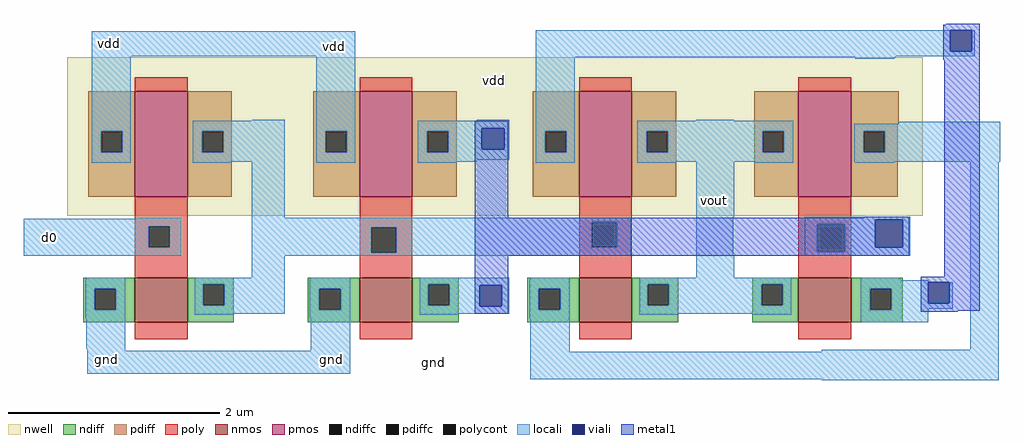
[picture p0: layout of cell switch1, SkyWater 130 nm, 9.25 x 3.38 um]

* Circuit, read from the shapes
.subckt switch1 d0 gnd vdd vout
XM1 n1 d0 gnd VSUBS sky130_fd_pr__nfet_01v8 w=0.42 l=0.5
XM2 n2 n1 gnd VSUBS sky130_fd_pr__nfet_01v8 w=0.42 l=0.5
XM3 vout n1 n3 VSUBS sky130_fd_pr__nfet_01v8 w=0.42 l=0.5
XM4 n4 n2 vout VSUBS sky130_fd_pr__nfet_01v8 w=0.42 l=0.5
XM5 n1 d0 vdd vdd sky130_fd_pr__pfet_01v8 w=1 l=0.5
XM6 n2 n1 vdd vdd sky130_fd_pr__pfet_01v8 w=1 l=0.5
XM7 vout n1 n4 vdd sky130_fd_pr__pfet_01v8 w=1 l=0.5
XM8 n3 n2 vout vdd sky130_fd_pr__pfet_01v8 w=1 l=0.5
.ends

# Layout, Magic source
magic
tech sky130A
<< nwell >>
rect -19 0 792 150
<< nmos >>
rect 45 -101 95 -59
rect 258 -101 308 -59
rect 466 -101 516 -59
rect 674 -101 724 -59
<< pmos >>
rect 45 18 95 118
rect 258 18 308 118
rect 466 18 516 118
rect 674 18 724 118
<< ndiff >>
rect -4 -69 45 -59
rect -4 -89 7 -69
rect 27 -89 45 -69
rect -4 -101 45 -89
rect 95 -65 139 -59
rect 95 -85 110 -65
rect 130 -85 139 -65
rect 95 -101 139 -85
rect 209 -69 258 -59
rect 209 -89 220 -69
rect 240 -89 258 -69
rect 209 -101 258 -89
rect 308 -65 352 -59
rect 308 -85 323 -65
rect 343 -85 352 -65
rect 308 -101 352 -85
rect 417 -69 466 -59
rect 417 -89 428 -69
rect 448 -89 466 -69
rect 417 -101 466 -89
rect 516 -65 560 -59
rect 516 -85 531 -65
rect 551 -85 560 -65
rect 516 -101 560 -85
rect 630 -65 674 -59
rect 630 -85 639 -65
rect 659 -85 674 -65
rect 630 -101 674 -85
rect 724 -69 773 -59
rect 724 -89 742 -69
rect 762 -89 773 -69
rect 724 -101 773 -89
<< pdiff >>
rect 1 80 45 118
rect 1 60 13 80
rect 33 60 45 80
rect 1 18 45 60
rect 95 80 137 118
rect 95 60 109 80
rect 129 60 137 80
rect 95 18 137 60
rect 214 80 258 118
rect 214 60 226 80
rect 246 60 258 80
rect 214 18 258 60
rect 308 80 350 118
rect 308 60 322 80
rect 342 60 350 80
rect 308 18 350 60
rect 422 80 466 118
rect 422 60 434 80
rect 454 60 466 80
rect 422 18 466 60
rect 516 80 558 118
rect 516 60 530 80
rect 550 60 558 80
rect 516 18 558 60
rect 632 80 674 118
rect 632 60 640 80
rect 660 60 674 80
rect 632 18 674 60
rect 724 87 769 118
rect 724 80 768 87
rect 724 60 736 80
rect 756 60 768 80
rect 724 18 768 60
<< ndiffc >>
rect 7 -89 27 -69
rect 110 -85 130 -65
rect 220 -89 240 -69
rect 323 -85 343 -65
rect 428 -89 448 -69
rect 531 -85 551 -65
rect 639 -85 659 -65
rect 742 -89 762 -69
<< pdiffc >>
rect 13 60 33 80
rect 109 60 129 80
rect 226 60 246 80
rect 322 60 342 80
rect 434 60 454 80
rect 530 60 550 80
rect 640 60 660 80
rect 736 60 756 80
<< poly >>
rect 45 118 95 131
rect 258 118 308 131
rect 466 118 516 131
rect 674 118 724 131
rect 45 -10 95 18
rect 45 -30 58 -10
rect 78 -30 95 -10
rect 45 -59 95 -30
rect 258 -11 308 18
rect 258 -35 269 -11
rect 293 -35 308 -11
rect 258 -59 308 -35
rect 466 -6 516 18
rect 466 -30 478 -6
rect 502 -30 516 -6
rect 466 -59 516 -30
rect 674 -8 724 18
rect 674 -34 692 -8
rect 718 -34 724 -8
rect 674 -59 724 -34
rect 45 -117 95 -101
rect 258 -117 308 -101
rect 466 -117 516 -101
rect 674 -117 724 -101
<< polycont >>
rect 58 -30 78 -10
rect 269 -35 293 -11
rect 478 -30 502 -6
rect 692 -34 718 -8
<< locali >>
rect 4 151 254 175
rect 4 80 41 151
rect 156 90 187 91
rect 4 60 13 80
rect 33 60 41 80
rect 4 50 41 60
rect 100 80 187 90
rect 100 60 109 80
rect 129 60 187 80
rect 100 51 187 60
rect 100 50 137 51
rect 156 -2 187 51
rect 217 80 254 151
rect 425 156 818 176
rect 838 156 841 176
rect 425 151 841 156
rect 425 150 766 151
rect 369 90 400 91
rect 217 60 226 80
rect 246 60 254 80
rect 217 50 254 60
rect 313 83 400 90
rect 313 80 374 83
rect 313 60 322 80
rect 342 63 374 80
rect 395 63 400 83
rect 342 60 400 63
rect 313 53 400 60
rect 425 80 462 150
rect 728 149 765 150
rect 577 90 613 91
rect 425 60 434 80
rect 454 60 462 80
rect 313 51 369 53
rect 313 50 350 51
rect 425 50 462 60
rect 521 80 669 90
rect 769 87 865 89
rect 521 60 530 80
rect 550 60 640 80
rect 660 60 669 80
rect 521 51 669 60
rect 727 80 865 87
rect 727 60 736 80
rect 756 60 865 80
rect 727 51 865 60
rect 521 50 558 51
rect 577 -1 613 51
rect 632 50 669 51
rect 728 50 765 51
rect 48 -3 89 -2
rect -60 -10 89 -3
rect -60 -30 58 -10
rect 78 -30 89 -10
rect -60 -38 89 -30
rect 156 -6 515 -2
rect 156 -11 478 -6
rect 156 -35 269 -11
rect 293 -30 478 -11
rect 502 -30 515 -6
rect 293 -35 515 -30
rect 156 -38 515 -35
rect 577 -38 612 -1
rect 680 -4 780 -1
rect 680 -8 747 -4
rect 680 -34 692 -8
rect 718 -30 747 -8
rect 773 -30 780 -4
rect 718 -34 780 -30
rect 680 -38 780 -34
rect 156 -59 187 -38
rect 577 -59 613 -38
rect -1 -60 36 -59
rect -2 -69 36 -60
rect -2 -89 7 -69
rect 27 -89 36 -69
rect -2 -97 36 -89
rect 102 -65 187 -59
rect 212 -60 249 -59
rect 102 -85 110 -65
rect 130 -85 187 -65
rect 102 -93 187 -85
rect 211 -69 249 -60
rect 211 -89 220 -69
rect 240 -89 249 -69
rect 102 -94 138 -93
rect 211 -97 249 -89
rect 315 -65 400 -59
rect 420 -60 457 -59
rect 315 -85 323 -65
rect 343 -66 400 -65
rect 343 -85 372 -66
rect 315 -86 372 -85
rect 393 -86 400 -66
rect 315 -93 400 -86
rect 419 -69 457 -60
rect 419 -89 428 -69
rect 448 -89 457 -69
rect 315 -94 351 -93
rect 419 -97 457 -89
rect 523 -65 667 -59
rect 523 -85 531 -65
rect 551 -85 639 -65
rect 659 -85 667 -65
rect 523 -93 667 -85
rect 523 -94 559 -93
rect 631 -94 667 -93
rect 733 -60 770 -59
rect 733 -61 771 -60
rect 733 -69 797 -61
rect 733 -89 742 -69
rect 762 -83 797 -69
rect 817 -83 820 -63
rect 762 -88 820 -83
rect 762 -89 797 -88
rect -1 -126 36 -97
rect 0 -128 36 -126
rect 212 -128 249 -97
rect 0 -150 249 -128
rect 420 -129 457 -97
rect 733 -101 797 -89
rect 837 -127 864 51
rect 696 -129 864 -127
rect 420 -155 864 -129
rect 696 -156 864 -155
<< viali >>
rect 818 156 838 176
rect 374 63 395 83
rect 747 -30 773 -4
rect 372 -86 393 -66
rect 797 -83 817 -63
<< metal1 >>
rect 814 181 846 182
rect 811 176 846 181
rect 811 156 818 176
rect 838 156 846 176
rect 811 148 846 156
rect 367 83 399 90
rect 367 63 374 83
rect 395 63 399 83
rect 367 -2 399 63
rect 737 -2 777 -1
rect 367 -4 779 -2
rect 367 -30 747 -4
rect 773 -30 779 -4
rect 367 -38 779 -30
rect 367 -66 399 -38
rect 812 -58 846 148
rect 367 -86 372 -66
rect 393 -86 399 -66
rect 367 -93 399 -86
rect 790 -63 846 -58
rect 790 -83 797 -63
rect 817 -83 846 -63
rect 790 -90 846 -83
rect 790 -91 825 -90
<< labels >>
rlabel locali 7 160 36 166 1 vdd
rlabel locali 220 157 249 163 1 vdd
rlabel locali 583 7 605 22 1 vout
rlabel locali -47 -28 -25 -13 1 d0
rlabel nwell 374 127 397 130 1 vdd
rlabel locali 4 -139 33 -133 1 gnd
rlabel locali 217 -139 246 -133 1 gnd
rlabel space 314 -144 343 -135 1 gnd
<< end >>
